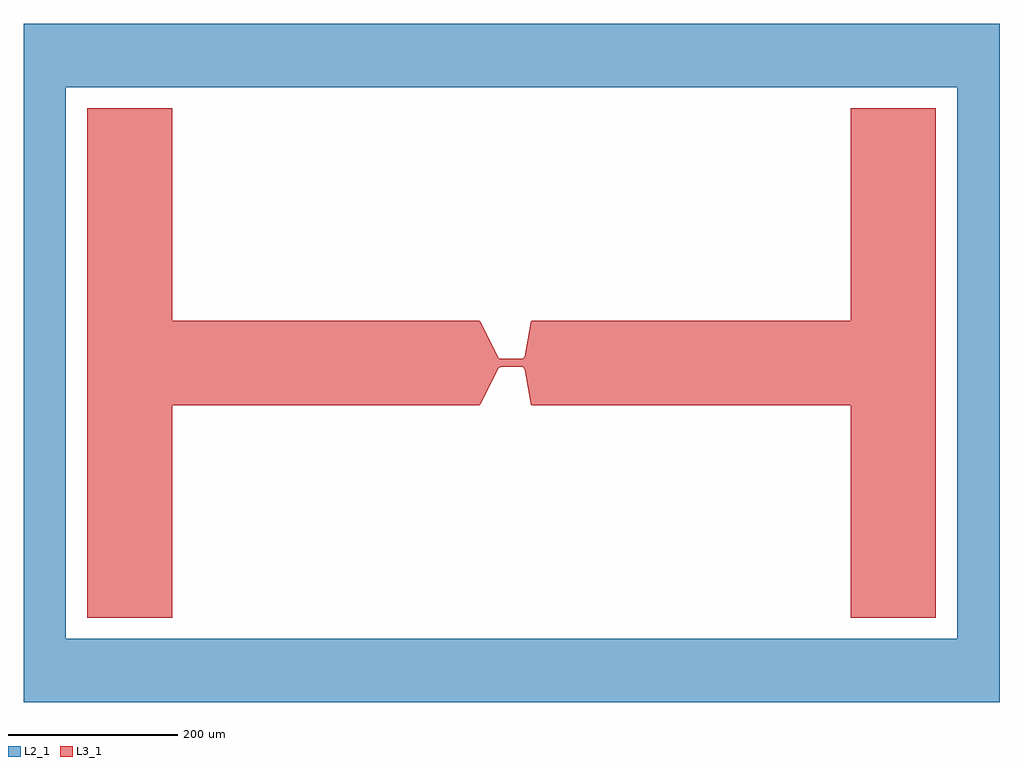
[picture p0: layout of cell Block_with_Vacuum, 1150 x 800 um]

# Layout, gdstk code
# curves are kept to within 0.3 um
from math import pi, radians
import gdstk
lib = gdstk.Library(unit=1e-6, precision=5e-09)
def R(c, l, rs):  # rectangles x0, y0, x1, y1
    for r in rs: c.add(gdstk.rectangle(r[:2], r[2:], *l))
def P(c, l, *ps):  # polygons
    for p in ps: c.add(gdstk.Polygon(p, *l))
L2_1 = (2, 1)
L3_1 = (3, 1)

celltrap_1 = lib.new_cell('CELLTRAP_1')
P(celltrap_1, L3_1, [(72,50),(150,50),(150,-50),(24.38,-49.825),(23.185,-49.03),(22.48,-47.72),(15.38,-7.23),(14.31,-5.62),(12.585,-5),(-13.265,-5),(-15.065,-5.68),(-37.04,-48.36),(-38.85,-49.875),(-150,-50),(-150,50),(-38.85,49.875),(-37.04,48.36),(-15.735,6.46),(-14.685,5.415),(-13.265,5),(12.585,5),(14.76,6.05),(15.425,7.43),(22.48,47.72),(24.045,49.68),(25.29,50)])

trace_1 = lib.new_cell('TRACE_1')
R(trace_1, L3_1, [(-50,-300,50,300)])

trace_2 = lib.new_cell('TRACE_2')
R(trace_2, L3_1, [(-300,-50,0,50)])

tee_2 = lib.new_cell('Tee_2')
tee_2.add(gdstk.Reference(trace_1, (0,0)))
tee_2.add(gdstk.Reference(trace_2, (300,0)))

trap_w_tees_1 = lib.new_cell('TRAP_W_TEES_1')
trap_w_tees_1.add(gdstk.Reference(celltrap_1, (0,0)))
trap_w_tees_1.add(gdstk.Reference(tee_2, (-450,0)))
trap_w_tees_1.add(gdstk.Reference(tee_2, (450,0), rotation=pi, x_reflection=True))

structure_1 = lib.new_cell('STRUCTURE_1')
P(structure_1, L2_1, [(-525,0),(-575,0),(-575,400),(0,400),(0,325),(-525,325)])

structure_2 = lib.new_cell('STRUCTURE_2')
P(structure_2, L2_1, [(0,325),(0,400),(575,400),(575,0),(525,0),(525,325)])

structure_3 = lib.new_cell('STRUCTURE_3')
P(structure_3, L2_1, [(0,-325),(0,-400),(-575,-400),(-575,0),(-525,0),(-525,-325)])

structure_4 = lib.new_cell('STRUCTURE_4')
P(structure_4, L2_1, [(525,0),(575,0),(575,-400),(0,-400),(0,-325),(525,-325)])

pcell_1 = lib.new_cell('PCELL_1')
pcell_1.add(gdstk.Reference(structure_1, (0,0)))
pcell_1.add(gdstk.Reference(structure_2, (0,0)))
pcell_1.add(gdstk.Reference(structure_3, (0,0)))
pcell_1.add(gdstk.Reference(structure_4, (0,0)))

block_with_vacuum = lib.new_cell('Block_with_Vacuum')
block_with_vacuum.add(gdstk.Reference(trap_w_tees_1, (0,0)))
block_with_vacuum.add(gdstk.Reference(pcell_1, (0,0)))

lib.write_gds('Block_with_Vacuum.gds')
